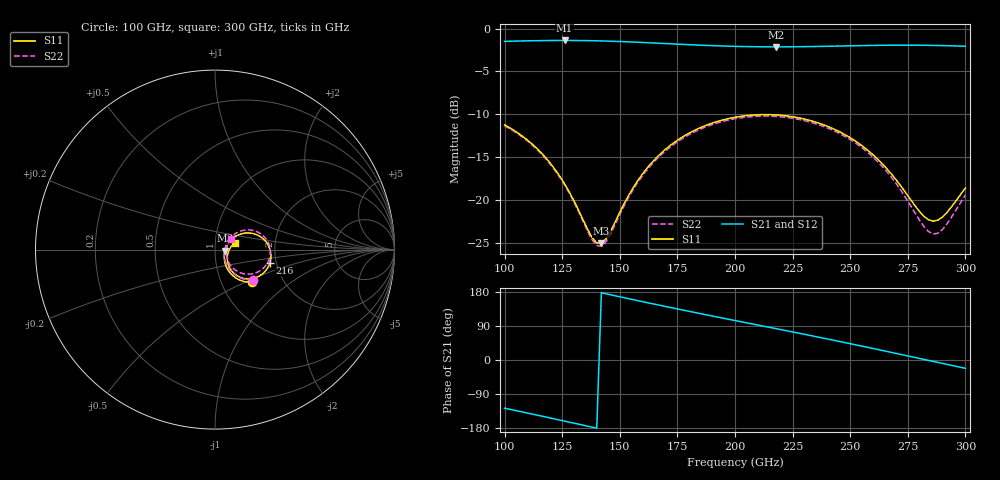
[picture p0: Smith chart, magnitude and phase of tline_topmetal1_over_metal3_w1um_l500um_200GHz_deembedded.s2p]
! Created with skrf 2.0.1 (http://scikit-rf.org).
# GHz S DB R 50.0
!freq dBS11 angS11 dBS21 angS21 dBS12 angS12 dBS22 angS22
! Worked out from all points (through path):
!   101 points, 100 GHz to 300 GHz, reference 50 ohm
!   highest |S21| = -1.38 dB at 126 GHz (marker M1); lowest = -2.1 dB at 218 GHz (marker M2)
!   group delay of S21, straight-line fit = 3.5 ps
!   lowest |S11| = -25.1 dB at 142 GHz (marker M3), VSWR 1.12, Z = 55.9 - j0.75 ohm
!   |S11| at or under -10 dB: start of sweep to end of sweep
!   |S22| runs from -25.4 to -10.2 dB; largest |S21 - S12| = 9.8e-14
!   S11 on the Smith chart (normalised r, x): 100 GHz: 1.39, -0.55; 216 GHz: 1.84, -0.31; 300 GHz: 1.25, +0.10
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100  -11.24 -41.5  -1.49 -127.2  -1.49 -127.2  -11.34 -38.4
114  -13.99 -53.3  -1.41 -145.4  -1.41 -145.4  -14.10 -49.8
126  -18.10 -57.3  -1.38 -161.2  -1.38 -161.2  -18.23 -53.6
134  -22.28 -47.2  -1.40 -171.9  -1.40 -171.9  -22.47 -43.6
138  -24.39 -31.3  -1.42 -177.2  -1.42 -177.2  -24.65 -27.5
142  -25.06 -6.9  -1.44 177.5  -1.44 177.5  -25.38 -2.5
146  -23.63 14.6  -1.47 172.2  -1.47 172.2  -23.94 19.6
152  -20.37 29.5  -1.53 164.2  -1.53 164.2  -20.61 35.0
158  -17.66 32.8  -1.60 156.4  -1.60 156.4  -17.86 38.4
168  -14.52 29.2  -1.72 143.6  -1.72 143.6  -14.70 35.0
184  -11.67 16.3  -1.92 123.6  -1.92 123.6  -11.84 22.6
200  -10.34 1.4  -2.07 104.1  -2.07 104.1  -10.52 8.1
216  -10.05 -14.0  -2.13 84.9  -2.13 84.9  -10.22 -7.0
218  -10.07 -15.9  -2.13 82.5  -2.13 82.5  -10.25 -8.9
234  -10.83 -30.9  -2.09 63.0  -2.09 63.0  -11.01 -23.7
252  -13.07 -45.8  -2.00 40.5  -2.00 40.5  -13.30 -38.9
260  -14.75 -50.4  -1.96 30.3  -1.96 30.3  -15.02 -43.8
268  -17.00 -51.6  -1.94 19.9  -1.94 19.9  -17.38 -45.8
280  -21.31 -36.7  -1.94 4.2  -1.94 4.2  -22.32 -31.7
286  -22.46 -15.7  -1.96 -3.7  -1.96 -3.7  -23.96 -7.6
290  -22.00 -0.7  -1.98 -8.9  -1.98 -8.9  -23.46 10.7
300  -18.60 19.3  -2.06 -21.9  -2.06 -21.9  -19.44 33.4
